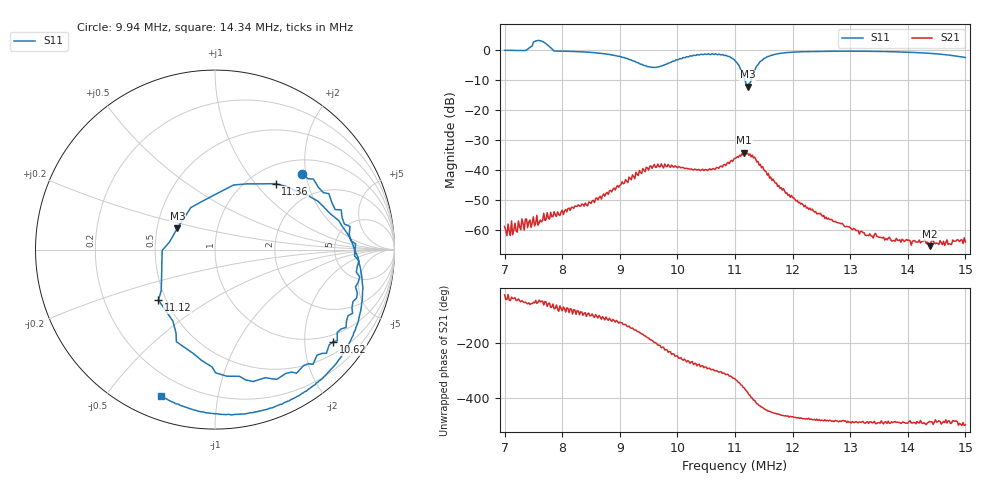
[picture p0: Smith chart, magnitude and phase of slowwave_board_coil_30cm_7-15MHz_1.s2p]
! Measured S11/S21; S12/S22 are placeholders, NOT measurements. Calibration unverified.
! [Saver CAL applied] C:\Users\aknya\MyProjects\rf-simulator\calibration2.cal | Ideal standards assumed | Input: NanoVNA F V2 profile | COM3 | 2026-10-04T10:39:58.0783943-04:00 | device calibration unverified
# HZ S RI R 50
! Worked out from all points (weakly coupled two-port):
!   401 points, 7 MHz to 15 MHz, reference 50 ohm
!   highest |S21| = -34.28 dB at 11.16 MHz (marker M1); lowest = -65.3 dB at 14.38 MHz (marker M2)
!   lowest |S11| = -12.4 dB at 11.22 MHz (marker M3), VSWR 1.64, Z = 31.9 + j8.05 ohm
!   |S11| at or under -10 dB: 11.17 MHz to 11.28 MHz (115.9 kHz wide, 1.03 % of centre)
!   S12 and S22 are empty: the file has one direction only
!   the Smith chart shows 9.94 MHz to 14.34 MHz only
!   S11 on the Smith chart (normalised r, x): 9.94 MHz: 1.34, +1.91; 10.62 MHz: 0.80, -2.70; 11.12 MHz: 0.45, -0.31; 11.36 MHz: 1.31, +1.28; 14.34 MHz: 0.10, -0.69
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7000000  0.7248 -0.6428  0.00102 -0.000538  0 0  0 0
7440000  0.7988 -0.7288  0.000684 -0.00131  0 0  0 0
7540000  -0.5723 -1.262  0.000885 -0.000966  0 0  0 0
7660000  -0.00601 -1.356  0.000925 -0.00111  0 0  0 0
7820000  0.3977 -0.9461  0.000549 -0.00157  0 0  0 0
8340000  0.1356 -0.9054  1.81e-05 -0.00271  0 0  0 0
9220000  -0.5861 -0.2834  -0.00696 -0.00452  0 0  0 0
9680000  -0.0719 0.5115  -0.01 0.00551  0 0  0 0
9940000  0.4874 0.4185  -0.00548 0.0097  0 0  0 0
1.026e7  0.7781 -0.0358  -0.000327 0.0102  0 0  0 0
1.062e7  0.6578 -0.5133  0.00463 0.00954  0 0  0 0
1.1e7  -0.0165 -0.6535  0.0137 0.00759  0 0  0 0
1.112e7  -0.3148 -0.2818  0.0185 0.00203  0 0  0 0
1.116e7  -0.2975 -0.1493  0.0193 -0.001  0 0  0 0
1.122e7  -0.2098 0.1189  0.018 -0.00622  0 0  0 0
1.136e7  0.3374 0.3675  0.00886 -0.0123  0 0  0 0
1.166e7  0.809 -0.0977  -0.000363 -0.00706  0 0  0 0
1.234e7  0.6521 -0.6613  -0.00103 -0.00198  0 0  0 0
1.368e7  0.0685 -0.9187  -0.0005 -0.000581  0 0  0 0
1.434e7  -0.3012 -0.8165  -0.000397 -0.000496  0 0  0 0
1.438e7  -0.3258 -0.7992  -0.000305 -0.000451  0 0  0 0
1.5e7  -0.6454 -0.3536  -0.000461 -0.000443  0 0  0 0
